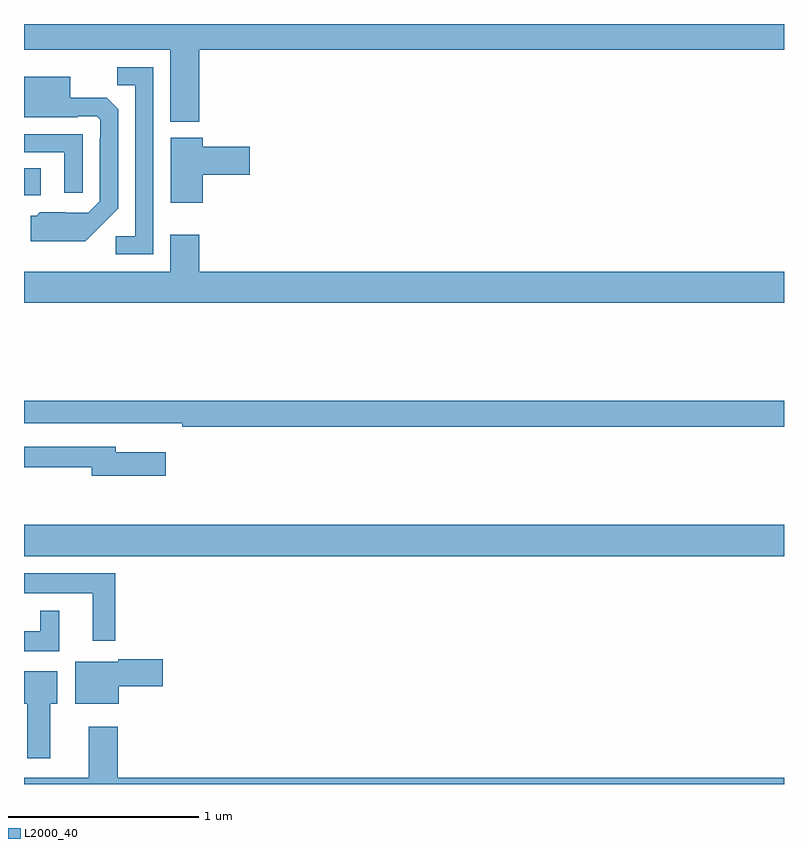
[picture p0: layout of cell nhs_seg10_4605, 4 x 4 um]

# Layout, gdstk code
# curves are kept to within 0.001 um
import gdstk
lib = gdstk.Library(unit=1e-6, precision=1e-09)
def R(c, l, rs):  # rectangles x0, y0, x1, y1
    for r in rs: c.add(gdstk.rectangle(r[:2], r[2:], *l))
def P(c, l, *ps):  # polygons
    for p in ps: c.add(gdstk.Polygon(p, *l))
L2000_40 = (2000, 40)

nhs_seg10_4605 = lib.new_cell('nhs_seg10_4605')
R(nhs_seg10_4605, L2000_40, [(375,1249.7,379,1249.864), (375,1251.6,375.088,1251.74)])
P(nhs_seg10_4605, L2000_40, [(375.923,1252.364),(379,1252.364),(379,1252.5),(375,1252.5),(375,1252.364),(375.77,1252.364),(375.77,1251.986),(375.923,1251.986)],
  [(375.681,1252.272),(375.49,1252.272),(375.49,1252.177),(375.585,1252.177),(375.585,1251.384),(375.483,1251.384),(375.483,1251.288),(375.681,1251.288)],
  [(375.403,1251.437),(375.495,1251.53),(375.495,1252.052),(375.436,1252.111),(375.244,1252.111),(375.244,1252.222),(375,1252.222),(375,1252.01),(375.284,1252.01),(375.284,1252.014),(375.384,1252.014),(375.402,1251.996),(375.402,1251.896),(375.399,1251.896),(375.399,1251.567),(375.339,1251.507),(375.082,1251.508),(375.066,1251.492),(375.035,1251.492),(375.035,1251.356),(375.323,1251.356)],
  [(375.309,1251.921),(375,1251.921),(375,1251.825),(375.213,1251.825),(375.213,1251.612),(375.309,1251.612)],
  [(375.94,1251.707),(376.189,1251.707),(376.189,1251.854),(375.94,1251.854),(375.94,1251.901),(375.773,1251.901),(375.773,1251.558),(375.94,1251.558)],
  [(379,1251.196),(375.923,1251.196),(375.923,1251.391),(375.77,1251.391),(375.77,1251.196),(375,1251.196),(375,1251.032),(379,1251.032)],
  [(379,1250.516),(375,1250.516),(375,1250.4),(375.58,1250.4),(375.58,1250.399),(375.832,1250.399),(375.832,1250.38),(379,1250.38)],
  [(375.745,1250.245),(375.484,1250.245),(375.484,1250.274),(375,1250.274),(375,1250.166),(375.356,1250.166),(375.356,1250.123),(375.745,1250.123)],
  [(375.479,1249.609),(375,1249.609),(375,1249.505),(375.362,1249.505),(375.362,1249.254),(375.479,1249.254)],
  [(375.185,1249.411),(375.086,1249.411),(375.086,1249.303),(375,1249.303),(375,1249.199),(375.185,1249.199)],
  [(375.499,1249.015),(375.73,1249.015),(375.73,1249.157),(375.495,1249.157),(375.495,1249.144),(375.269,1249.144),(375.269,1248.923),(375.499,1248.923)],
  [(375.139,1248.923),(375.175,1248.923),(375.175,1249.093),(375,1249.093),(375,1248.923),(375.017,1248.923),(375.017,1248.636),(375.139,1248.636)],
  [(379,1248.532),(375.494,1248.532),(375.494,1248.802),(375.341,1248.802),(375.341,1248.532),(375,1248.532),(375,1248.5),(379,1248.5)])

lib.write_gds('nhs_seg10_4605.gds')
